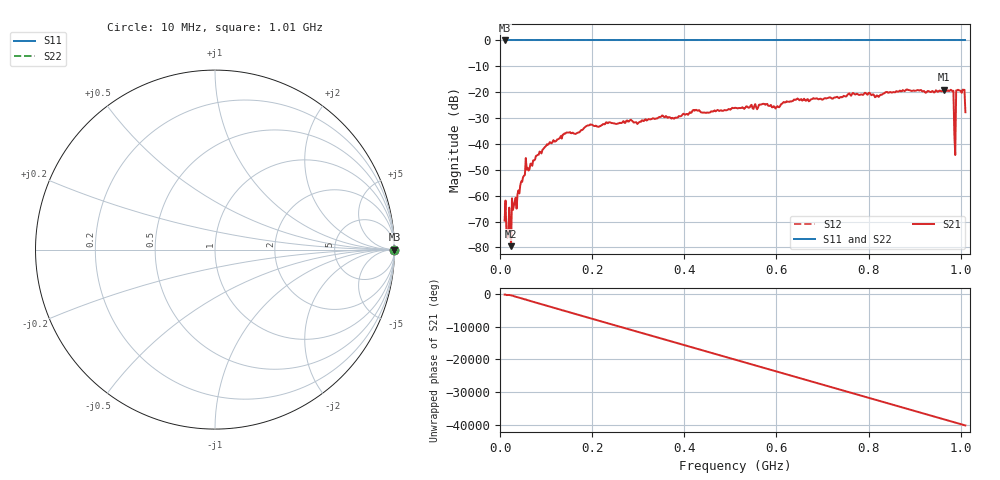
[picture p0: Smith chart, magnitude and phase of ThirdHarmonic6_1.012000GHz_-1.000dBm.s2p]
! 8/16/2025 8:21:21 AM
! C:\ANRITSUVNA\TEMP\TEMP.S2P
! CHANNEL.1
! TR.MEASUREMENT
! RAW.DATA
! RF.CORRECTION.OFF
! AVERAGING.OFF
! IF.BANDWIDTH: 5KHZ
! SWEEPTYPE:  FREQ.SWEEP(Linear)
! Reference Plane Port Info
! PORT:  PORT1  PORT2
! DISTANCE:  0  m  0  m
! TIME:  0  s  0  s
! PHASE.OFFSET:  0  deg.  0  deg.
! LOSS:  0  dB  0  dB
! REF.LOSS:  0  dB  0  dB
! REF.FREQ:  0  Hz  0  Hz
! Power Info
! POWER:  -20  dBm  -20  dBm
! EFF.POWER:  -20  dBm  -20  dBm
! SOURCE.ATTEN:  0  dB  0  dB
! TEST.ATTEN:  0  dB  0  dB
# GHZ S RI R 50.0
! FREQ.GHZ  S11RE  S11IM  S21RE  S21IM  S12RE  S12IM  S22RE  S22IM
!; PortSelection: Port_12
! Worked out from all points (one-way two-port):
!   501 points, 10 MHz to 1.01 GHz, reference 50 ohm
!   highest |S21| = -18.96 dB at 964 MHz (marker M1); lowest = -79.5 dB at 24 MHz (marker M2)
!   lowest |S11| = 0.0 dB at 10 MHz (marker M3)
!   |S11| at or under -10 dB: nowhere
!   |S22| runs from 0.0 to 0.0 dB; largest |S21 - S12| = 1.1
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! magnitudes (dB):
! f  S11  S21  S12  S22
! 10 MHz  0.0  -69.6  0.0  0.0
! 20 MHz  0.0  -64.6  0.0  0.0
! 24 MHz  0.0  -79.5  0.0  0.0
! 28 MHz  0.0  -65.5  0.0  0.0
! 30 MHz  0.0  -63.9  0.0  0.0
! 32 MHz  0.0  -62.3  0.0  0.0
! 56 MHz  0.0  -45.5  0.0  0.0
! 106 MHz  0.0  -40.0  0.0  0.0
! 178 MHz  0.0  -34.6  0.0  0.0
! 194 MHz  0.0  -32.7  0.0  0.0
! 344 MHz  0.0  -29.7  0.0  0.0
! 510 MHz  0.0  -26.0  0.0  0.0
! 602 MHz  0.0  -25.4  0.0  0.0
! 678 MHz  0.0  -22.6  0.0  0.0
! 844 MHz  0.0  -20.2  0.0  0.0
! 964 MHz  0.0  -19.0  0.0  0.0
! 980 MHz  0.0  -19.3  0.0  0.0
! 984 MHz  0.0  -19.4  0.0  0.0
! 990 MHz  0.0  -19.3  0.0  0.0
! 994 MHz  0.0  -19.1  0.0  0.0
! 1.004 GHz  0.0  -19.0  0.0  0.0
! 1.01 GHz  0.0  -27.7  0.0  0.0
